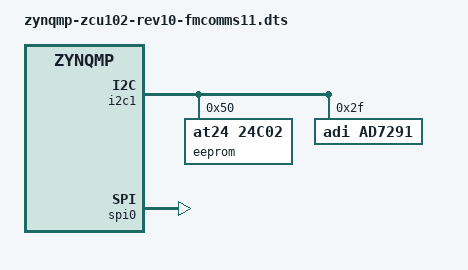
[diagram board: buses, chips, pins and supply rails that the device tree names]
// SPDX-License-Identifier: GPL-2.0
/*
 * Analog Devices AD-FMCOMMS11-EBZ
 * https://wiki.analog.com/resources/tools-software/linux-drivers/iio-transceiver/ad9361
 * https://wiki.analog.com/resources/eval/user-guides/ad-fmcomms11-ebz/hardware/functional_overview
 *
 * hdl_project: <fmcomms11/zcu102>
 * board_revision: <>
 *
 * Copyright (C) 2024 Analog Devices Inc.
*/
/dts-v1/;

#include "zynqmp-zcu102-rev1.0.dts"
#include <dt-bindings/interrupt-controller/irq.h>
#include <dt-bindings/jesd204/adxcvr.h>

&i2c1 {
	i2c@0 { /* HPC IIC */
		#address-cells = <1>;
		#size-cells = <0>;
		reg = <0>;

		eeprom@50 {
			compatible = "at24,24c02";
			reg = <0x50>;
		};

		ad7291@2f {
			compatible = "adi,ad7291";
			reg = <0x2f>;
		};
	};
};

/ {
	fpga_axi: fpga-axi@0 {
		interrupt-parent = <&gic>;
		compatible = "simple-bus";
		#address-cells = <0x1>;
		#size-cells = <0x1>;
		ranges = <0 0 0 0xffffffff>;

		// ad9625_dma
		rx_dma: rx-dmac@9c400000 {
			compatible = "adi,axi-dmac-1.00.a";
			reg = <0x9c400000 0x1000>;
			#dma-cells = <1>;
			interrupts = <0 109 IRQ_TYPE_LEVEL_HIGH>;
			clocks = <&zynqmp_clk 71>;

			adi,channels {
				#size-cells = <0>;
				#address-cells = <1>;

				dma-channel@0 {
					reg = <0>;
					adi,source-bus-width = <64>;
					adi,source-bus-type = <1>;
					adi,destination-bus-width = <64>;
					adi,destination-bus-type = <0>;
				};
			};
		};

		// ad9162_dma
		tx_dma: tx-dmac@9c420000 {
			compatible = "adi,axi-dmac-1.00.a";
			reg = <0x9c420000 0x1000>;
			#dma-cells = <1>;
			interrupts = <0 108 IRQ_TYPE_LEVEL_HIGH>;
			clocks = <&zynqmp_clk 71>;

			adi,channels {
				#size-cells = <0>;
				#address-cells = <1>;

				dma-channel@0 {
					reg = <0>;
					adi,source-bus-width = <256>;
					adi,source-bus-type = <0>;
					adi,destination-bus-width = <256>;
					adi,destination-bus-type = <1>;
				};
			};
		};

		// 84a00000 e in hdl
		axi_ad9162_core: axi-ad9162-hpc@84a04000 {
			compatible = "adi,axi-ad9162-1.0";
			reg = <0x84a00000 0x4000>;
			dmas = <&tx_dma 0>;
			dma-names = "tx";
			spibus-connected = <&dac0_ad9162>;
			//adi,axi-pl-fifo-enable;

			jesd204-device;
			#jesd204-cells = <2>;
			jesd204-inputs = <&axi_ad9162_jesd 0 0>;
		};

		// 84a9 0000
		axi_ad9162_jesd: axi-jesd204-tx@84a90000 {
			compatible = "adi,axi-jesd204-tx-1.0";
			reg = <0x84a90000 0x1000>;

			interrupts = <0 54 IRQ_TYPE_LEVEL_HIGH>;

			clocks = <&zynqmp_clk 71>, <&tx_adxcvr 1>, <&tx_adxcvr 0>;
			clock-names = "s_axi_aclk", "device_clk", "lane_clk";

			#clock-cells = <0>;
			clock-output-names = "jesd_dac_lane_clk";

			jesd204-device;
			#jesd204-cells = <2>;
			jesd204-inputs = <&tx_adxcvr 0 0>;
		};


		axi_ad9625_core: axi-ad9625-hpc@84a10000 {
			compatible = "adi,axi-ad9625-1.0";
			reg = <0x84a10000 0x10000>;
			dmas = <&rx_dma 0>;
			dma-names = "rx";
			spibus-connected = <&adc0_ad9625>;
		};


		axi_ad9625_jesd: axi-jesd204-rx@84aa0000 {
			compatible = "adi,axi-jesd204-rx-1.0";
			reg = <0x84aa0000 0x1000>;

			interrupts = <0 55 IRQ_TYPE_LEVEL_HIGH>;

			clocks = <&zynqmp_clk 71>, <&rx_adxcvr 1>, <&rx_adxcvr 0>;
			clock-names = "s_axi_aclk", "device_clk", "lane_clk";

			adi,octets-per-frame = <1>;
			adi,frames-per-multiframe = <32>;
			adi,subclass = <0>;

			#clock-cells = <0>;
			clock-output-names = "jesd_adc_lane_clk";
		};

		// ad9635_xcvr
		rx_adxcvr: axi-adxcvr-rx@84a50000 {
			compatible = "adi,axi-adxcvr-1.0";
			reg = <0x84a50000 0x1000>;

			clocks = <&adc_divclk>;
			clock-names = "conv";

			#clock-cells = <1>;
			clock-output-names = "adc_gt_clk", "rx_out_clk";

			adi,sys-clk-select = <XCVR_CPLL>;
			adi,out-clk-select = <XCVR_OUTCLK_PMA>;
			adi,use-lpm-enable;
		};

		// ad9162_xcvr
		tx_adxcvr: axi-adxcvr-tx@84a60000 {
			compatible = "adi,axi-adxcvr-1.0";
			reg = <0x84a60000 0x1000>;
			clocks = <&adc0_ad9625>;
			clock-names = "conv";

			#clock-cells = <1>;
			clock-output-names = "dac_gt_clk", "tx_out_clk";

			adi,sys-clk-select = <XCVR_QPLL>;
			adi,out-clk-select = <XCVR_OUTCLK_PMA>;

			jesd204-device;
			#jesd204-cells = <2>;
		};
	};
};

&spi0 {
	status = "okay";
	is-decoded-cs = <1>;
	num-cs = <7>;
};

#define fmc_spi spi0

#include "adi-fmcomms11.dtsi"

&adc0_ad9625 {
	irq-gpios = <&gpio 111 0>; /* 33, ad9625_irq */
};

&dac0_ad9162 {
	txen-gpios = <&gpio 112 0>; /* 34, ad9162_txen */
	irq-gpios = <&gpio 110 0>; /* 32, ad9162_irq */
};
